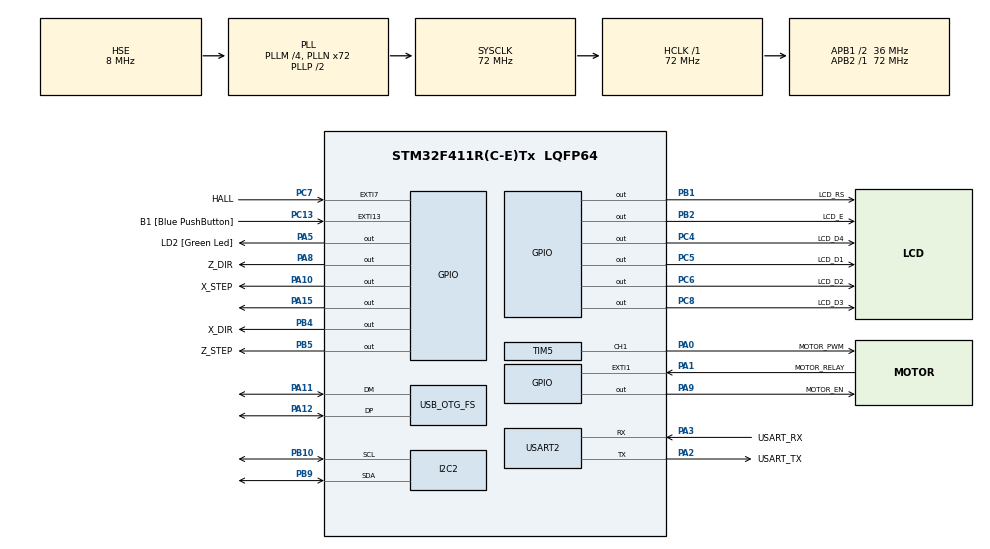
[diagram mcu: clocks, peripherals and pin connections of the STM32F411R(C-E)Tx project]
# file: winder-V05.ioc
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I2C2.I2C_Mode=I2C_Fast
Mcu.Family=STM32F4
Mcu.Name=STM32F411R(C-E)Tx
Mcu.Package=LQFP64
NVIC.EXTI9_5_IRQn=true\:0\:0\:false\:false\:true\:true\:true\:true
NVIC.OTG_FS_IRQn=true\:0\:0\:false\:false\:true\:false\:true\:true
NVIC.PriorityGroup=NVIC_PRIORITYGROUP_0
NVIC.TIM3_IRQn=true\:0\:0\:false\:false\:true\:true\:true\:true
NVIC.TIM5_IRQn=true\:0\:0\:false\:false\:true\:true\:true\:true
PA0-WKUP.GPIO_Label=MOTOR_PWM
PA0-WKUP.Signal=S_TIM5_CH1
PA1.GPIO_Label=MOTOR_RELAY
PA1.Signal=GPXTI1
PA10.GPIO_Label=X_STEP
PA10.Signal=GPIO_Output
PA11.Mode=Host_Only
PA11.Signal=USB_OTG_FS_DM
PA12.Mode=Host_Only
PA12.Signal=USB_OTG_FS_DP
PA13.GPIO_Label=TMS
PA13.Mode=Serial_Wire
PA13.Signal=SYS_JTMS-SWDIO
PA14.GPIO_Label=TCK
PA14.Mode=Serial_Wire
PA14.Signal=SYS_JTCK-SWCLK
PA15.Signal=GPIO_Output
PA2.GPIO_Label=USART_TX
PA2.Mode=Asynchronous
PA2.Signal=USART2_TX
PA3.GPIO_Label=USART_RX
PA3.Mode=Asynchronous
PA3.Signal=USART2_RX
PA5.GPIO_Label=LD2 [Green Led]
PA5.Signal=GPIO_Output
PA8.GPIO_Label=Z_DIR
PA8.Signal=GPIO_Output
PA9.GPIO_Label=MOTOR_EN
PA9.Signal=GPIO_Output
PB1.GPIO_Label=LCD_RS
PB1.Signal=GPIO_Output
PB10.Mode=I2C
PB10.Signal=I2C2_SCL
PB2.GPIO_Label=LCD_E
PB2.Signal=GPIO_Output
PB3.GPIO_Label=SWO
PB3.Signal=SYS_JTDO-SWO
PB4.GPIO_Label=X_DIR
PB4.Signal=GPIO_Output
PB5.GPIO_Label=Z_STEP
PB5.Signal=GPIO_Output
PB9.Mode=I2C
PB9.Signal=I2C2_SDA
PC13-ANTI_TAMP.GPIO_Label=B1 [Blue PushButton]
PC13-ANTI_TAMP.GPIO_ModeDefaultEXTI=GPIO_MODE_IT_FALLING
PC13-ANTI_TAMP.Signal=GPXTI13
PC14-OSC32_IN.Mode=LSE-External-Oscillator
PC14-OSC32_IN.Signal=RCC_OSC32_IN
PC15-OSC32_OUT.Mode=LSE-External-Oscillator
PC15-OSC32_OUT.Signal=RCC_OSC32_OUT
PC4.GPIO_Label=LCD_D4
PC4.Signal=GPIO_Output
PC5.GPIO_Label=LCD_D1
PC5.Signal=GPIO_Output
PC6.GPIO_Label=LCD_D2
PC6.Signal=GPIO_Output
PC7.GPIO_Label=HALL
PC7.GPIO_ModeDefaultEXTI=GPIO_MODE_IT_FALLING
PC7.GPIO_PuPd=GPIO_PULLUP
PC7.Signal=GPXTI7
PC8.GPIO_Label=LCD_D3
PC8.Signal=GPIO_Output
PH0\ -\ OSC_IN.Mode=HSE-External-Clock-Source
PH0\ -\ OSC_IN.Signal=RCC_OSC_IN
PH1\ -\ OSC_OUT.Mode=HSE-External-Clock-Source
PH1\ -\ OSC_OUT.Signal=RCC_OSC_OUT
ProjectManager.HeapSize=0x200
ProjectManager.StackSize=0x400
ProjectManager.TargetToolchain=STM32CubeIDE
RCC.48MHZClocksFreq_Value=48000000
RCC.AHBFreq_Value=72000000
RCC.APB1CLKDivider=RCC_HCLK_DIV2
RCC.APB1Freq_Value=36000000
RCC.APB1TimFreq_Value=72000000
RCC.APB2Freq_Value=72000000
RCC.APB2TimFreq_Value=72000000
RCC.CortexFreq_Value=72000000
RCC.FLatency-AdvancedSettings=FLASH_LATENCY_2
RCC.HCLKFreq_Value=72000000
RCC.HSE_VALUE=8000000
RCC.HSI_VALUE=16000000
RCC.PLLM=4
RCC.PLLN=72
RCC.PLLQ=3
RCC.SYSCLKFreq_VALUE=72000000
RCC.SYSCLKSource=RCC_SYSCLKSOURCE_PLLCLK
RCC.VCOOutputFreq_Value=144000000
SH.S_TIM5_CH1.0=TIM5_CH1,PWM Generation1 CH1
TIM3.Period=10
TIM3.Prescaler=72-1
TIM5.Channel-PWM\ Generation1\ CH1=TIM_CHANNEL_1
TIM5.Period=10000
USART2.VirtualMode=VM_ASYNC
USB_HOST.BSP.number=1
USB_HOST.USBH_HandleTypeDef=hUsbHostFS
USB_HOST.VirtualModeFS=Hid
USB_HOST0.BSP.STBoard=false
USB_HOST0.BSP.api=Unknown
USB_HOST0.BSP.condition=SW_VBUS_DRIVE_HID_FS \= false
USB_HOST0.BSP.instance=PA15
USB_HOST0.BSP.ip=GPIO
USB_HOST0.BSP.mode=Output
USB_HOST0.BSP.name=Drive_VBUS_FS
USB_HOST0.BSP.solution=PA15
USB_OTG_FS.VirtualMode=Host_Only
USB_OTG_FS.phy_itface=HCD_PHY_EMBEDDED
VP_TIM3_VS_ClockSourceINT.Mode=Internal
VP_USB_HOST_VS_USB_HOST_HID_FS.Mode=HID_FS
board=NUCLEO-F411RE

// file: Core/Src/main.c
/* USER CODE BEGIN Header */
/**
 ******************************************************************************
 * @file           : main.c
 * @brief          : Main program body
 ******************************************************************************
 * @attention
 *
 * Copyright (c) 2024 STMicroelectronics.
 * All rights reserved.
 *
 * This software is licensed under terms that can be found in the LICENSE file
 * in the root directory of this software component.
 * If no LICENSE file comes with this software, it is provided AS-IS.
 *
 ******************************************************************************
 */
/* USER CODE END Header */
#include "main.h"
#include "usb_host.h"

/* USER CODE BEGIN Includes */
#include "usbh_hid.h"

#include "../libs/lcd16x2.h"
#include "../libs/eeprom.h"
#include "../libs/i2c-lcd-stm32/i2c_lcd.h"

#include "../../appV2/machine_motion.h"
#include "../../appV2/program_controller.h"
#include "../../appV2/machine.h"
#include "../../appV2/statemachine/winder_machine.h"

#include "../../appV2/statemachine/states/state_run.h"

/* USER CODE END Includes */

I2C_HandleTypeDef hi2c2;

TIM_HandleTypeDef htim3;
TIM_HandleTypeDef htim5;

UART_HandleTypeDef huart2;

/* USER CODE BEGIN PV */
I2C_LCD_HandleTypeDef lcd1;
/* USER CODE END PV */

void SystemClock_Config(void);
static void MX_GPIO_Init(void);
static void MX_USART2_UART_Init(void);
static void MX_TIM3_Init(void);
static void MX_TIM5_Init(void);
static void MX_I2C2_Init(void);
void MX_USB_HOST_Process(void);

/* USER CODE BEGIN 0 */
void USBH_HID_EventCallback(USBH_HandleTypeDef *phost) {
	if (USBH_HID_GetDeviceType(phost) == HID_KEYBOARD)  // if the HID is Mouse
			{
		uint8_t key;
		HID_KEYBD_Info_TypeDef *Keyboard_Info;
		Keyboard_Info = USBH_HID_GetKeybdInfo(phost);  // get the info
		key = USBH_HID_GetASCIICode(Keyboard_Info);  // get the key pressed

		signal_t signal;
		signal.key_pressed = key;
		app_put_signal(signal);
	}
}

void ll_print(char *_1st_line, char *_2nd_line) {
//	lcd16x2_clear();
//	lcd16x2_1stLine();
//	lcd16x2_printf(_1st_line);
//	lcd16x2_2ndLine();
//	lcd16x2_printf(_2nd_line);

  lcd_clear(&lcd1);
  lcd_gotoxy(&lcd1, 0, 1);
  lcd_puts(&lcd1, _1st_line);
  lcd_gotoxy(&lcd1, 0, 2);
  lcd_puts(&lcd1, _2nd_line);
}

void ll_print_4_lines(char *_1st_line, char *_2nd_line, char *_3nd_line, char *_4nd_line) {
  lcd_clear(&lcd1);
  lcd_puts(&lcd1, _1st_line);
  lcd_gotoxy(&lcd1, 0, 1);
  lcd_puts(&lcd1, _2nd_line);
  lcd_gotoxy(&lcd1, 0, 2);
  lcd_puts(&lcd1, _3nd_line);
  lcd_gotoxy(&lcd1, 0, 3);
  lcd_puts(&lcd1, _4nd_line);
}

void motor_enable_fun(bool en) {
	HAL_GPIO_WritePin(MOTOR_EN_GPIO_Port, MOTOR_EN_Pin,
			en == true ? GPIO_PIN_RESET : GPIO_PIN_SET);
}

void x_step_fun(bool dir) {
	HAL_GPIO_WritePin(X_DIR_GPIO_Port, X_DIR_Pin,
			dir == true ? GPIO_PIN_SET : GPIO_PIN_RESET);
	HAL_GPIO_WritePin(X_STEP_GPIO_Port, X_STEP_Pin, GPIO_PIN_SET);
	HAL_GPIO_WritePin(X_STEP_GPIO_Port, X_STEP_Pin, GPIO_PIN_RESET);
}

void y_step_fun(bool dir) {
	HAL_GPIO_WritePin(Z_DIR_GPIO_Port, Z_DIR_Pin,
			dir == true ? GPIO_PIN_SET : GPIO_PIN_RESET);
	HAL_GPIO_WritePin(Z_STEP_GPIO_Port, Z_STEP_Pin, GPIO_PIN_SET);
	HAL_GPIO_WritePin(Z_STEP_GPIO_Port, Z_STEP_Pin, GPIO_PIN_RESET);
}

/**
 * Set the PWM duty cycle for a motor connected to TIM5 channel 1.
 *
 * @param pwm The desired duty cycle in per mille (‰) for the motor's PWM signal.
 *            The input should be in the range of 0 to 1000, where 0‰ means the output is always low and
 *            1000‰ means the output is always high.
 *
 * Note: This function assumes that TIM5 and its channel 1 have been previously configured for PWM output.
 *       Make sure that the PWM initialization and starting functions are correctly set up before calling this function.
 */
void set_motor_pwm(int pwm) {
    if (pwm < 0) pwm = 0;        // Ensure pwm is not below 0‰
    if (pwm > 1000) pwm = 1000;  // Ensure pwm does not exceed 1000‰

    uint32_t max = TIM5->ARR;    // Get the auto-reload value of the timer
    uint32_t res = (max * pwm) / 1000;  // Calculate the compare value for the duty cycle in per mille

    __HAL_TIM_SET_COMPARE(&htim5, TIM_CHANNEL_1, res);  // Set the compare value to adjust the duty cycle
}

/**
 * Control the direction of a motor relay.
 *
 * This function sets the state of a GPIO pin connected to a motor relay,
 * effectively controlling the relay's switching and, consequently, the direction
 * of the motor's operation.
 *
 * @param dir A boolean value specifying the desired state of the relay.
 *            If true, the relay is activated (pin set high).
 *            If false, the relay is deactivated (pin set low).
 */
void set_motor_relay(bool dir) {
	HAL_GPIO_WritePin(MOTOR_RELAY_GPIO_Port, MOTOR_RELAY_Pin,
			dir == true ? GPIO_PIN_SET : GPIO_PIN_RESET);
}

static long long us_tick = 0;
void update_us_timer() {
	us_tick++;
}

long get_us_fun() {
	return us_tick;
}

//void ll_read_flash(machine_static_params_t *machine_static_params) {
//
//}
//
//void ll_write_flash(machine_static_params_t *machine_static_params) {
//
//}

void appV2_error(const char * message) {
	ll_print("APP error handler", (char *)message);

	while(1);
}
/* USER CODE END 0 */

int main(void)
{

  /* MCU Configuration--------------------------------------------------------*/

  /* Reset of all peripherals, Initializes the Flash interface and the Systick. */
  HAL_Init();

  /* Configure the system clock */
  SystemClock_Config();

  /* Initialize all configured peripherals */
  MX_GPIO_Init();
  MX_USART2_UART_Init();
  MX_USB_HOST_Init();
  MX_TIM3_Init();
  MX_TIM5_Init();
  MX_I2C2_Init();
  /* USER CODE BEGIN 2 */
  lcd1.hi2c = &hi2c2;
  lcd1.address = 0x4E;
  lcd_init(&lcd1);

  lcd_clear(&lcd1);
  lcd_puts(&lcd1, "Winding");
  lcd_gotoxy(&lcd1, 0, 1);
  lcd_puts(&lcd1, "Machine");

	machine_control_t machine_controll_callbacks = {
			.print_fun = ll_print,
			.print_4_fun = ll_print_4_lines,
	};

	app_init(machine_controll_callbacks);

	motor_enable_fun(false);

	HAL_TIM_Base_Start_IT(&htim3);
	HAL_TIM_PWM_Start(&htim5, TIM_CHANNEL_1);

	void gcode_done() {
		g_code_t * next = program_get_next_gcode();
		if(next != NULL) {
			state_run_current_gcode(next);
		} else {
			program_machine_wait_for_gcode();
		}
	}

	void current_g_code_in_proggress(g_code_t * code) {
		state_run_current_gcode(code);
	}

	// app V2
	machine_motion_callbacks_t cllbacks = {
			.get_us_fun = get_us_fun,
			.step_a = x_step_fun, // correct mapping of CNC sheeld and program
			.step_x = y_step_fun,
			.motor_enable_fun = motor_enable_fun,
			.g_code_done = gcode_done,
			.current_g_code_info = current_g_code_in_proggress,
	};

	machine_motion_init(cllbacks);

	void program_start() {
		motor_enable_fun(true);
	}

	void program_finished() {
		motor_enable_fun(false);
		state_run_program_finished();
	}

	void program_send_g_code_to_machine(g_code_t * code) {
		machine_motion_move_g_code(code);
	}

	program_callbacks_t program_callbacks = {
		.program_start_callback = program_start,
		.program_finished_callback = program_finished,
		.program_send_next_gcode_to_machine = program_send_g_code_to_machine,
	};

	program_init(program_callbacks);

	machine_motion_set_speed_time(90);

  /* USER CODE END 2 */

  /* Infinite loop */
	while (1) {
    MX_USB_HOST_Process();

    /* USER CODE BEGIN 3 */
		app_state_machine_loop();
		machine_motion_loop();
		program_loop();
	}
  /* USER CODE END 3 */
}

void SystemClock_Config(void)
{
  RCC_OscInitTypeDef RCC_OscInitStruct = {0};
  RCC_ClkInitTypeDef RCC_ClkInitStruct = {0};

  /** Configure the main internal regulator output voltage
  */
  __HAL_RCC_PWR_CLK_ENABLE();
  __HAL_PWR_VOLTAGESCALING_CONFIG(PWR_REGULATOR_VOLTAGE_SCALE1);

  /** Initializes the RCC Oscillators according to the specified parameters
  * in the RCC_OscInitTypeDef structure.
  */
  RCC_OscInitStruct.OscillatorType = RCC_OSCILLATORTYPE_HSE;
  RCC_OscInitStruct.HSEState = RCC_HSE_BYPASS;
  RCC_OscInitStruct.PLL.PLLState = RCC_PLL_ON;
  RCC_OscInitStruct.PLL.PLLSource = RCC_PLLSOURCE_HSE;
  RCC_OscInitStruct.PLL.PLLM = 4;
  RCC_OscInitStruct.PLL.PLLN = 72;
  RCC_OscInitStruct.PLL.PLLP = RCC_PLLP_DIV2;
  RCC_OscInitStruct.PLL.PLLQ = 3;
  if (HAL_RCC_OscConfig(&RCC_OscInitStruct) != HAL_OK)
  {
    Error_Handler();
  }

  /** Initializes the CPU, AHB and APB buses clocks
  */
  RCC_ClkInitStruct.ClockType = RCC_CLOCKTYPE_HCLK|RCC_CLOCKTYPE_SYSCLK
                              |RCC_CLOCKTYPE_PCLK1|RCC_CLOCKTYPE_PCLK2;
  RCC_ClkInitStruct.SYSCLKSource = RCC_SYSCLKSOURCE_PLLCLK;
  RCC_ClkInitStruct.AHBCLKDivider = RCC_SYSCLK_DIV1;
  RCC_ClkInitStruct.APB1CLKDivider = RCC_HCLK_DIV2;
  RCC_ClkInitStruct.APB2CLKDivider = RCC_HCLK_DIV1;

  if (HAL_RCC_ClockConfig(&RCC_ClkInitStruct, FLASH_LATENCY_2) != HAL_OK)
  {
    Error_Handler();
  }
}

static void MX_I2C2_Init(void)
{

  hi2c2.Instance = I2C2;
  hi2c2.Init.ClockSpeed = 400000;
  hi2c2.Init.DutyCycle = I2C_DUTYCYCLE_2;
  hi2c2.Init.OwnAddress1 = 0;
  hi2c2.Init.AddressingMode = I2C_ADDRESSINGMODE_7BIT;
  hi2c2.Init.DualAddressMode = I2C_DUALADDRESS_DISABLE;
  hi2c2.Init.OwnAddress2 = 0;
  hi2c2.Init.GeneralCallMode = I2C_GENERALCALL_DISABLE;
  hi2c2.Init.NoStretchMode = I2C_NOSTRETCH_DISABLE;
  if (HAL_I2C_Init(&hi2c2) != HAL_OK)
  {
    Error_Handler();
  }

}

static void MX_TIM3_Init(void)
{

  TIM_ClockConfigTypeDef sClockSourceConfig = {0};
  TIM_MasterConfigTypeDef sMasterConfig = {0};

  htim3.Instance = TIM3;
  htim3.Init.Prescaler = 72-1;
  htim3.Init.CounterMode = TIM_COUNTERMODE_UP;
  htim3.Init.Period = 10;
  htim3.Init.ClockDivision = TIM_CLOCKDIVISION_DIV1;
  htim3.Init.AutoReloadPreload = TIM_AUTORELOAD_PRELOAD_DISABLE;
  if (HAL_TIM_Base_Init(&htim3) != HAL_OK)
  {
    Error_Handler();
  }
  sClockSourceConfig.ClockSource = TIM_CLOCKSOURCE_INTERNAL;
  if (HAL_TIM_ConfigClockSource(&htim3, &sClockSourceConfig) != HAL_OK)
  {
    Error_Handler();
  }
  sMasterConfig.MasterOutputTrigger = TIM_TRGO_RESET;
  sMasterConfig.MasterSlaveMode = TIM_MASTERSLAVEMODE_DISABLE;
  if (HAL_TIMEx_MasterConfigSynchronization(&htim3, &sMasterConfig) != HAL_OK)
  {
    Error_Handler();
  }

}

static void MX_TIM5_Init(void)
{

  TIM_MasterConfigTypeDef sMasterConfig = {0};
  TIM_OC_InitTypeDef sConfigOC = {0};

  htim5.Instance = TIM5;
  htim5.Init.Prescaler = 0;
  htim5.Init.CounterMode = TIM_COUNTERMODE_UP;
  htim5.Init.Period = 10000;
  htim5.Init.ClockDivision = TIM_CLOCKDIVISION_DIV1;
  htim5.Init.AutoReloadPreload = TIM_AUTORELOAD_PRELOAD_DISABLE;
  if (HAL_TIM_PWM_Init(&htim5) != HAL_OK)
  {
    Error_Handler();
  }
  sMasterConfig.MasterOutputTrigger = TIM_TRGO_RESET;
  sMasterConfig.MasterSlaveMode = TIM_MASTERSLAVEMODE_DISABLE;
  if (HAL_TIMEx_MasterConfigSynchronization(&htim5, &sMasterConfig) != HAL_OK)
  {
    Error_Handler();
  }
  sConfigOC.OCMode = TIM_OCMODE_PWM1;
  sConfigOC.Pulse = 0;
  sConfigOC.OCPolarity = TIM_OCPOLARITY_HIGH;
  sConfigOC.OCFastMode = TIM_OCFAST_DISABLE;
  if (HAL_TIM_PWM_ConfigChannel(&htim5, &sConfigOC, TIM_CHANNEL_1) != HAL_OK)
  {
    Error_Handler();
  }
  HAL_TIM_MspPostInit(&htim5);

}

static void MX_USART2_UART_Init(void)
{

  huart2.Instance = USART2;
  huart2.Init.BaudRate = 115200;
  huart2.Init.WordLength = UART_WORDLENGTH_8B;
  huart2.Init.StopBits = UART_STOPBITS_1;
  huart2.Init.Parity = UART_PARITY_NONE;
  huart2.Init.Mode = UART_MODE_TX_RX;
  huart2.Init.HwFlowCtl = UART_HWCONTROL_NONE;
  huart2.Init.OverSampling = UART_OVERSAMPLING_16;
  if (HAL_UART_Init(&huart2) != HAL_OK)
  {
    Error_Handler();
  }

}

static void MX_GPIO_Init(void)
{
  GPIO_InitTypeDef GPIO_InitStruct = {0};

  /* GPIO Ports Clock Enable */
  __HAL_RCC_GPIOC_CLK_ENABLE();
  __HAL_RCC_GPIOH_CLK_ENABLE();
  __HAL_RCC_GPIOA_CLK_ENABLE();
  __HAL_RCC_GPIOB_CLK_ENABLE();

  /*Configure GPIO pin Output Level */
  HAL_GPIO_WritePin(GPIOA, LD2_Pin|Z_DIR_Pin|MOTOR_EN_Pin|X_STEP_Pin
                          |GPIO_PIN_15, GPIO_PIN_RESET);

  /*Configure GPIO pin Output Level */
  HAL_GPIO_WritePin(GPIOC, LCD_D4_Pin|LCD_D1_Pin|LCD_D2_Pin|LCD_D3_Pin, GPIO_PIN_RESET);

  /*Configure GPIO pin Output Level */
  HAL_GPIO_WritePin(GPIOB, LCD_RS_Pin|LCD_E_Pin|X_DIR_Pin|Z_STEP_Pin, GPIO_PIN_RESET);

  /*Configure GPIO pin : B1_Pin */
  GPIO_InitStruct.Pin = B1_Pin;
  GPIO_InitStruct.Mode = GPIO_MODE_IT_FALLING;
  GPIO_InitStruct.Pull = GPIO_NOPULL;
  HAL_GPIO_Init(B1_GPIO_Port, &GPIO_InitStruct);

  /*Configure GPIO pin : MOTOR_RELAY_Pin */
  GPIO_InitStruct.Pin = MOTOR_RELAY_Pin;
  GPIO_InitStruct.Mode = GPIO_MODE_IT_RISING;
  GPIO_InitStruct.Pull = GPIO_NOPULL;
  HAL_GPIO_Init(MOTOR_RELAY_GPIO_Port, &GPIO_InitStruct);

  /*Configure GPIO pins : LD2_Pin Z_DIR_Pin MOTOR_EN_Pin X_STEP_Pin
                           PA15 */
  GPIO_InitStruct.Pin = LD2_Pin|Z_DIR_Pin|MOTOR_EN_Pin|X_STEP_Pin
                          |GPIO_PIN_15;
  GPIO_InitStruct.Mode = GPIO_MODE_OUTPUT_PP;
  GPIO_InitStruct.Pull = GPIO_NOPULL;
  GPIO_InitStruct.Speed = GPIO_SPEED_FREQ_LOW;
  HAL_GPIO_Init(GPIOA, &GPIO_InitStruct);

  /*Configure GPIO pins : LCD_D4_Pin LCD_D1_Pin LCD_D2_Pin LCD_D3_Pin */
  GPIO_InitStruct.Pin = LCD_D4_Pin|LCD_D1_Pin|LCD_D2_Pin|LCD_D3_Pin;
  GPIO_InitStruct.Mode = GPIO_MODE_OUTPUT_PP;
  GPIO_InitStruct.Pull = GPIO_NOPULL;
  GPIO_InitStruct.Speed = GPIO_SPEED_FREQ_LOW;
  HAL_GPIO_Init(GPIOC, &GPIO_InitStruct);

  /*Configure GPIO pins : LCD_RS_Pin LCD_E_Pin X_DIR_Pin Z_STEP_Pin */
  GPIO_InitStruct.Pin = LCD_RS_Pin|LCD_E_Pin|X_DIR_Pin|Z_STEP_Pin;
  GPIO_InitStruct.Mode = GPIO_MODE_OUTPUT_PP;
  GPIO_InitStruct.Pull = GPIO_NOPULL;
  GPIO_InitStruct.Speed = GPIO_SPEED_FREQ_LOW;
  HAL_GPIO_Init(GPIOB, &GPIO_InitStruct);

  /*Configure GPIO pin : HALL_Pin */
  GPIO_InitStruct.Pin = HALL_Pin;
  GPIO_InitStruct.Mode = GPIO_MODE_IT_FALLING;
  GPIO_InitStruct.Pull = GPIO_PULLUP;
  HAL_GPIO_Init(HALL_GPIO_Port, &GPIO_InitStruct);

  /* EXTI interrupt init*/
  HAL_NVIC_SetPriority(EXTI9_5_IRQn, 0, 0);
  HAL_NVIC_EnableIRQ(EXTI9_5_IRQn);

}

void Error_Handler(void)
{
	__disable_irq();
	while (1) {
	}
}
